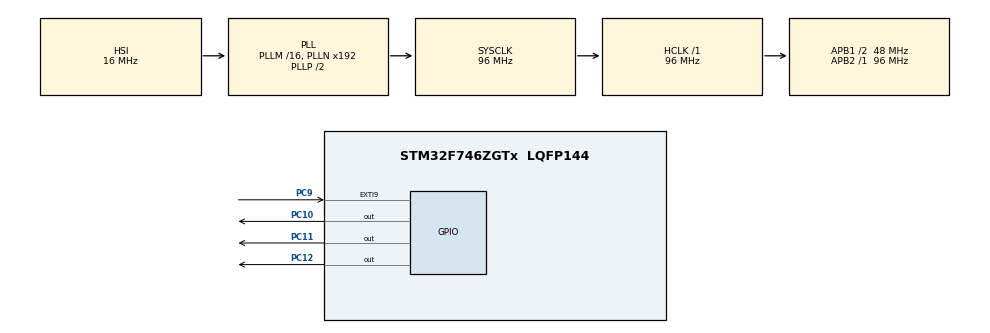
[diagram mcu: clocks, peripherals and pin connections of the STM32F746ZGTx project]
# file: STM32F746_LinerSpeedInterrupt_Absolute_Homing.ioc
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Mcu.Family=STM32F7
RCC.CortexFreq_Value=96000000
PC12.Signal=GPIO_Output
PC11.Signal=GPIO_Output
PC10.Signal=GPIO_Output
TIM1.Channel-Output\ Compare1\ No\ Output=TIM_CHANNEL_1
RCC.APB1CLKDivider=RCC_HCLK_DIV2
RCC.SYSCLKSource=RCC_SYSCLKSOURCE_PLLCLK
ProjectManager.StackSize=0x400
VP_TIM1_VS_no_output1.Mode=Output Compare1 No Output
TIM1.Prescaler=192-1
ProjectManager.TargetToolchain=STM32CubeIDE
RCC.HCLKFreq_Value=96000000
RCC.APB2TimFreq_Value=96000000
RCC.USBFreq_Value=96000000
RCC.LSE_VALUE=32768
RCC.AHBFreq_Value=96000000
RCC.HSE_VALUE=25000000
board=custom
RCC.VCOOutputFreq_Value=192000000
RCC.APB2Freq_Value=96000000
Mcu.Name=STM32F746ZGTx
VP_TIM1_VS_ClockSourceINT.Mode=Internal
NVIC.TIM1_CC_IRQn=true\:0\:0\:false\:false\:true\:true\:true
RCC.SYSCLKFreq_VALUE=96000000
Mcu.Package=LQFP144
NVIC.EXTI9_5_IRQn=true\:0\:0\:false\:false\:true\:true\:true
ProjectManager.HeapSize=0x200
RCC.HSI_VALUE=16000000
NVIC.PriorityGroup=NVIC_PRIORITYGROUP_4
RCC.APB1TimFreq_Value=96000000
PC9.Signal=GPXTI9
RCC.APB1Freq_Value=48000000
PC9.GPIO_ModeDefaultEXTI=GPIO_MODE_IT_RISING_FALLING

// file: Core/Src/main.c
/* USER CODE BEGIN Header */
/**
  ******************************************************************************
  * @file           : main.c
  * @brief          : Main program body
  ******************************************************************************
  * @attention
  *
  * <h2><center>&copy; Copyright (c) 2021 STMicroelectronics.
  * All rights reserved.</center></h2>
  *
  * This software component is licensed by ST under BSD 3-Clause license,
  * the "License"; You may not use this file except in compliance with the
  * License. You may obtain a copy of the License at:
  *                        opensource.org/licenses/BSD-3-Clause
  *
  ******************************************************************************
  */
/* USER CODE END Header */
#include "main.h"

/* USER CODE BEGIN Includes */
#include <stdlib.h>
#include <math.h>
/* USER CODE END Includes */

/* USER CODE BEGIN PTD */
typedef struct {
	float acceleration;
	volatile unsigned int minStepInterval;
	void (*dirFunc)(int);
	void (*stepFunc)();

	uint8_t homing;
	unsigned int c0;
	volatile int stepPosition;

	volatile int dir; // 1 or -1
	volatile int dir_inv; //set 1 to reverse the dir

	volatile int pull_off; //set pull_off distance

	volatile int seeking_vel;
	volatile int homing_vel;

	volatile unsigned int totalSteps;

	volatile char movementDone;
	volatile unsigned int rampUpStepCount;
	volatile unsigned int n; // index
	volatile float d; // current interval length
	volatile unsigned long di; // d -> unsigned  di
	volatile unsigned int stepCount;
}stepperInfo;

/* USER CODE END PTD */

/* USER CODE BEGIN PD */
#define NUM_STEPPERS 1
/* USER CODE END PD */

TIM_HandleTypeDef htim1;

/* USER CODE BEGIN PV */
volatile stepperInfo steppers[NUM_STEPPERS];
uint8_t end_stop_state = 0;
uint8_t homing_flag = 0;
/* USER CODE END PV */

void SystemClock_Config(void);
static void MX_GPIO_Init(void);
static void MX_TIM1_Init(void);

/* USER CODE BEGIN 0 */

//end stop senssor state
void HAL_GPIO_EXTI_Callback(uint16_t GPIO_Pin)
{

	//stepper 0 end stop senssor
	if(GPIO_Pin == GPIO_PIN_9 ){
		if(!HAL_GPIO_ReadPin(GPIOC, GPIO_PIN_9)){
			end_stop_state |= 1;
		}
		if(HAL_GPIO_ReadPin(GPIOC, GPIO_PIN_9)){
			end_stop_state &= ~1;
		}
	}
}

void Step0(){
	//pull+

	HAL_GPIO_WritePin(GPIOC, GPIO_PIN_12, GPIO_PIN_RESET);
	HAL_GPIO_WritePin(GPIOC, GPIO_PIN_12, GPIO_PIN_SET);
	/*
	 * pull-
	 * HAL_GPIO_WritePin(GPIOC, GPIO_PIN_12, GPIO_PIN_SET);
	 * HAL_GPIO_WritePin(GPIOC, GPIO_PIN_12, GPIO_PIN_RESET);
	 */
}

void Dir0(int dir){
	HAL_GPIO_WritePin(GPIOC, GPIO_PIN_11, dir);
}

void resetStepperInfo(stepperInfo * si){
	si->n = 0;
	si->d = 0;
	si->di = 0;
	si->stepCount = 0;
	si->rampUpStepCount = 0;
	si->totalSteps = 0;
	si->stepPosition = 0;
	si->movementDone = 0;
}

void resetStepper(volatile stepperInfo* si){
	si->c0 = si->acceleration;
	si->d = si->c0;
	si->di = si->d;
	si->stepCount = 0;
	si->n = 0;
	si->rampUpStepCount = 0;
	si->movementDone = 0;
}

volatile uint8_t remainingSteppersFlag = 0;

void prepareMovement(int whichMotor, int steps){
	if(steps == 0){
		return;
	}
	volatile stepperInfo* si = &steppers[whichMotor];
	if(si->dir_inv){
		si->dirFunc( steps < 0 ? 0 : 1);
		si->dir = steps > 0 ? -1:1;
	}else{
		si->dirFunc( steps < 0 ? 1 : 0);
		si->dir = steps > 0 ? 1:-1;
	}

	si->totalSteps = abs(steps);
	resetStepper(si);
	remainingSteppersFlag |= (1 << whichMotor);
}

void prepareAbsoluteMovement(int whichMotor, int absolute_steps){
	volatile stepperInfo* si = &steppers[whichMotor];
	int steps = absolute_steps - si->stepPosition;
	if(steps == 0){
		return;
	}
	si->dirFunc( steps < 0 ? 1 : 0);
	si->dir = steps > 0 ? 1:-1;
	si->totalSteps = abs(steps);
	resetStepper(si);
	remainingSteppersFlag |= (1 << whichMotor);
}

volatile uint8_t nextStepperFlag = 0;

void setNextInterruptInterval(){

	unsigned int mind = 999999;
	for (int i = 0; i < NUM_STEPPERS; i++){
		if( ((1 << i) & remainingSteppersFlag) && steppers[i].di < mind ){
			mind = steppers[i].di;
		}
	}

	nextStepperFlag = 0;
	for (int i = 0; i < NUM_STEPPERS; i ++){
		if( ((1 << i) & remainingSteppersFlag) && steppers[i].di == mind )
			nextStepperFlag |= (1 << i);
	}

	if (remainingSteppersFlag == 0){
		__HAL_TIM_SET_COMPARE(&htim1, TIM_CHANNEL_1, 65500);
	}

	__HAL_TIM_SET_COMPARE(&htim1, TIM_CHANNEL_1, mind);

}

void HAL_TIM_OC_DelayElapsedCallback(TIM_HandleTypeDef *htim){
	//HAL_TIM_OC_Stop_IT(&htim1, TIM_CHANNEL_1);
	unsigned int tmpCtr = __HAL_TIM_GET_COMPARE(&htim1, TIM_CHANNEL_1);
	__HAL_TIM_SET_COMPARE(&htim1, TIM_CHANNEL_1, 65500);

	for (int i = 0; i < NUM_STEPPERS; i++){
		if ( ! ( (1 << i) & remainingSteppersFlag )){
			continue;
		}

		if( homing_flag & (1 << i)){
			if(end_stop_state & (1 << i)){
				remainingSteppersFlag &= ~(1 << i);
				continue;
			}
		}

		if ( ! (nextStepperFlag & (1 << i)) ){
			steppers[i].di -= tmpCtr;
			continue;
		}

		volatile stepperInfo* s = &steppers[i];

		if( (s->stepCount) < (s->totalSteps) ){
			s->stepFunc();
			s->stepCount++;
			s->stepPosition += s->dir;
			if ( (s->stepCount) >= (s->totalSteps) ){
				s->movementDone = 1;
				remainingSteppersFlag &= ~(1 << i);
			}
		}

		if (s->rampUpStepCount == 0){
			s->n++;
			s->d = s->d - (2*s->d) / (4*s->n +1);
			if (s->d <= s->minStepInterval ){
				s->d = s->minStepInterval;
				s->rampUpStepCount = s->stepCount;
			}
			if (s->stepCount >= (s->totalSteps / 2) ){
				s->rampUpStepCount = s->stepCount;
			}
		} else if ( s->stepCount >= s->totalSteps - s->rampUpStepCount) {
			s->d = (s->d * (4 * s->n + 1)) / (4 * s->n + 1 -2);
			s->n--;
		}
		s->di = s->d;
	}

	setNextInterruptInterval();

	__HAL_TIM_SET_COUNTER(&htim1, 0);

}

void sensorStateInit(){
	if( ! HAL_GPIO_ReadPin(GPIOC, GPIO_PIN_9)){
		end_stop_state |= 1;
	}
}

void runAndWait(){
	setNextInterruptInterval();
	while(remainingSteppersFlag);
}

void stepperHoming(int whichMotor){
	homing_flag |= (1 << whichMotor);
	//seeking
	steppers[whichMotor].minStepInterval = steppers[whichMotor].seeking_vel;
	prepareMovement(whichMotor, -100000000);
	runAndWait();
	HAL_Delay(500);
	//pull-off

	homing_flag &= ~(1 << whichMotor);
	prepareMovement(whichMotor, steppers[whichMotor].pull_off);
	runAndWait();
	HAL_Delay(500);
	//homing

	homing_flag |= (1 << whichMotor);
	steppers[whichMotor].minStepInterval = steppers[whichMotor].homing_vel;
	prepareMovement(whichMotor, -100000000);
	runAndWait();
	HAL_Delay(500);
	//pull-off
	homing_flag &= ~(1 << whichMotor);
	prepareMovement(whichMotor, steppers[whichMotor].pull_off);
	runAndWait();
	HAL_Delay(500);

	steppers[whichMotor].stepPosition = 0;
	steppers[whichMotor].homing = 1;
	steppers[whichMotor].minStepInterval = 100;
}

/* USER CODE END 0 */

int main(void)
{

  /* MCU Configuration--------------------------------------------------------*/

  /* Reset of all peripherals, Initializes the Flash interface and the Systick. */
  HAL_Init();

  /* Configure the system clock */
  SystemClock_Config();

  /* Initialize all configured peripherals */
  MX_GPIO_Init();
  MX_TIM1_Init();
  /* USER CODE BEGIN 2 */
  //Set stepper 1
  steppers[0].dirFunc = Dir0;
  steppers[0].stepFunc = Step0;
  steppers[0].acceleration = 5000;
  steppers[0].minStepInterval = 100;
  steppers[0].homing = 0;
  steppers[0].dir_inv = 1;
  steppers[0].seeking_vel = 100;
  steppers[0].homing_vel = 200;
  steppers[0].pull_off = 500;
   //Stepper 1 enable
  //pull+
  HAL_GPIO_WritePin(GPIOC, GPIO_PIN_10, GPIO_PIN_SET);
  //pull-
  //HAL_GPIO_WritePin(GPIOC, GPIO_PIN_10, GPIO_PIN_RESET);

  HAL_TIM_OC_Start_IT(&htim1, TIM_CHANNEL_1);

  //stepperHoming(0);
  //HAL_Delay(3000);
  /* USER CODE END 2 */

  /* Infinite loop */
  while (1)
  {

    /* USER CODE BEGIN 3 */
	  prepareAbsoluteMovement(0, 10000);
	  runAndWait();
	  HAL_Delay(100);
	  prepareAbsoluteMovement(0, -10000);
	  runAndWait();
	  HAL_Delay(100);
	  //prepareAbsoluteMovement(0, 0);
	  //runAndWait();
	  //HAL_Delay(100);
  }
  /* USER CODE END 3 */
}

void SystemClock_Config(void)
{
  RCC_OscInitTypeDef RCC_OscInitStruct = {0};
  RCC_ClkInitTypeDef RCC_ClkInitStruct = {0};

  /** Configure the main internal regulator output voltage
  */
  __HAL_RCC_PWR_CLK_ENABLE();
  __HAL_PWR_VOLTAGESCALING_CONFIG(PWR_REGULATOR_VOLTAGE_SCALE3);
  /** Initializes the RCC Oscillators according to the specified parameters
  * in the RCC_OscInitTypeDef structure.
  */
  RCC_OscInitStruct.OscillatorType = RCC_OSCILLATORTYPE_HSI;
  RCC_OscInitStruct.HSIState = RCC_HSI_ON;
  RCC_OscInitStruct.HSICalibrationValue = RCC_HSICALIBRATION_DEFAULT;
  RCC_OscInitStruct.PLL.PLLState = RCC_PLL_ON;
  RCC_OscInitStruct.PLL.PLLSource = RCC_PLLSOURCE_HSI;
  RCC_OscInitStruct.PLL.PLLM = 16;
  RCC_OscInitStruct.PLL.PLLN = 192;
  RCC_OscInitStruct.PLL.PLLP = RCC_PLLP_DIV2;
  RCC_OscInitStruct.PLL.PLLQ = 2;
  if (HAL_RCC_OscConfig(&RCC_OscInitStruct) != HAL_OK)
  {
    Error_Handler();
  }
  /** Activate the Over-Drive mode
  */
  if (HAL_PWREx_EnableOverDrive() != HAL_OK)
  {
    Error_Handler();
  }
  /** Initializes the CPU, AHB and APB buses clocks
  */
  RCC_ClkInitStruct.ClockType = RCC_CLOCKTYPE_HCLK|RCC_CLOCKTYPE_SYSCLK
                              |RCC_CLOCKTYPE_PCLK1|RCC_CLOCKTYPE_PCLK2;
  RCC_ClkInitStruct.SYSCLKSource = RCC_SYSCLKSOURCE_PLLCLK;
  RCC_ClkInitStruct.AHBCLKDivider = RCC_SYSCLK_DIV1;
  RCC_ClkInitStruct.APB1CLKDivider = RCC_HCLK_DIV2;
  RCC_ClkInitStruct.APB2CLKDivider = RCC_HCLK_DIV1;

  if (HAL_RCC_ClockConfig(&RCC_ClkInitStruct, FLASH_LATENCY_3) != HAL_OK)
  {
    Error_Handler();
  }
}

static void MX_TIM1_Init(void)
{

  TIM_ClockConfigTypeDef sClockSourceConfig = {0};
  TIM_MasterConfigTypeDef sMasterConfig = {0};
  TIM_OC_InitTypeDef sConfigOC = {0};
  TIM_BreakDeadTimeConfigTypeDef sBreakDeadTimeConfig = {0};

  htim1.Instance = TIM1;
  htim1.Init.Prescaler = 96-1;
  htim1.Init.CounterMode = TIM_COUNTERMODE_UP;
  htim1.Init.Period = 65535;
  htim1.Init.ClockDivision = TIM_CLOCKDIVISION_DIV1;
  htim1.Init.RepetitionCounter = 0;
  htim1.Init.AutoReloadPreload = TIM_AUTORELOAD_PRELOAD_DISABLE;
  if (HAL_TIM_Base_Init(&htim1) != HAL_OK)
  {
    Error_Handler();
  }
  sClockSourceConfig.ClockSource = TIM_CLOCKSOURCE_INTERNAL;
  if (HAL_TIM_ConfigClockSource(&htim1, &sClockSourceConfig) != HAL_OK)
  {
    Error_Handler();
  }
  if (HAL_TIM_OC_Init(&htim1) != HAL_OK)
  {
    Error_Handler();
  }
  sMasterConfig.MasterOutputTrigger = TIM_TRGO_RESET;
  sMasterConfig.MasterOutputTrigger2 = TIM_TRGO2_RESET;
  sMasterConfig.MasterSlaveMode = TIM_MASTERSLAVEMODE_DISABLE;
  if (HAL_TIMEx_MasterConfigSynchronization(&htim1, &sMasterConfig) != HAL_OK)
  {
    Error_Handler();
  }
  sConfigOC.OCMode = TIM_OCMODE_TIMING;
  sConfigOC.Pulse = 0;
  sConfigOC.OCPolarity = TIM_OCPOLARITY_HIGH;
  sConfigOC.OCNPolarity = TIM_OCNPOLARITY_HIGH;
  sConfigOC.OCFastMode = TIM_OCFAST_DISABLE;
  sConfigOC.OCIdleState = TIM_OCIDLESTATE_RESET;
  sConfigOC.OCNIdleState = TIM_OCNIDLESTATE_RESET;
  if (HAL_TIM_OC_ConfigChannel(&htim1, &sConfigOC, TIM_CHANNEL_1) != HAL_OK)
  {
    Error_Handler();
  }
  sBreakDeadTimeConfig.OffStateRunMode = TIM_OSSR_DISABLE;
  sBreakDeadTimeConfig.OffStateIDLEMode = TIM_OSSI_DISABLE;
  sBreakDeadTimeConfig.LockLevel = TIM_LOCKLEVEL_OFF;
  sBreakDeadTimeConfig.DeadTime = 0;
  sBreakDeadTimeConfig.BreakState = TIM_BREAK_DISABLE;
  sBreakDeadTimeConfig.BreakPolarity = TIM_BREAKPOLARITY_HIGH;
  sBreakDeadTimeConfig.BreakFilter = 0;
  sBreakDeadTimeConfig.Break2State = TIM_BREAK2_DISABLE;
  sBreakDeadTimeConfig.Break2Polarity = TIM_BREAK2POLARITY_HIGH;
  sBreakDeadTimeConfig.Break2Filter = 0;
  sBreakDeadTimeConfig.AutomaticOutput = TIM_AUTOMATICOUTPUT_DISABLE;
  if (HAL_TIMEx_ConfigBreakDeadTime(&htim1, &sBreakDeadTimeConfig) != HAL_OK)
  {
    Error_Handler();
  }

}

static void MX_GPIO_Init(void)
{
  GPIO_InitTypeDef GPIO_InitStruct = {0};

  /* GPIO Ports Clock Enable */
  __HAL_RCC_GPIOC_CLK_ENABLE();

  /*Configure GPIO pin Output Level */
  HAL_GPIO_WritePin(GPIOC, GPIO_PIN_10|GPIO_PIN_11|GPIO_PIN_12, GPIO_PIN_RESET);

  /*Configure GPIO pin : PC9 */
  GPIO_InitStruct.Pin = GPIO_PIN_9;
  GPIO_InitStruct.Mode = GPIO_MODE_IT_RISING_FALLING;
  GPIO_InitStruct.Pull = GPIO_NOPULL;
  HAL_GPIO_Init(GPIOC, &GPIO_InitStruct);

  /*Configure GPIO pins : PC10 PC11 PC12 */
  GPIO_InitStruct.Pin = GPIO_PIN_10|GPIO_PIN_11|GPIO_PIN_12;
  GPIO_InitStruct.Mode = GPIO_MODE_OUTPUT_PP;
  GPIO_InitStruct.Pull = GPIO_NOPULL;
  GPIO_InitStruct.Speed = GPIO_SPEED_FREQ_LOW;
  HAL_GPIO_Init(GPIOC, &GPIO_InitStruct);

  /* EXTI interrupt init*/
  HAL_NVIC_SetPriority(EXTI9_5_IRQn, 0, 0);
  HAL_NVIC_EnableIRQ(EXTI9_5_IRQn);

}

void Error_Handler(void)
{
  __disable_irq();
  while (1)
  {
  }
}

/************************ (C) COPYRIGHT STMicroelectronics *****END OF FILE****/
